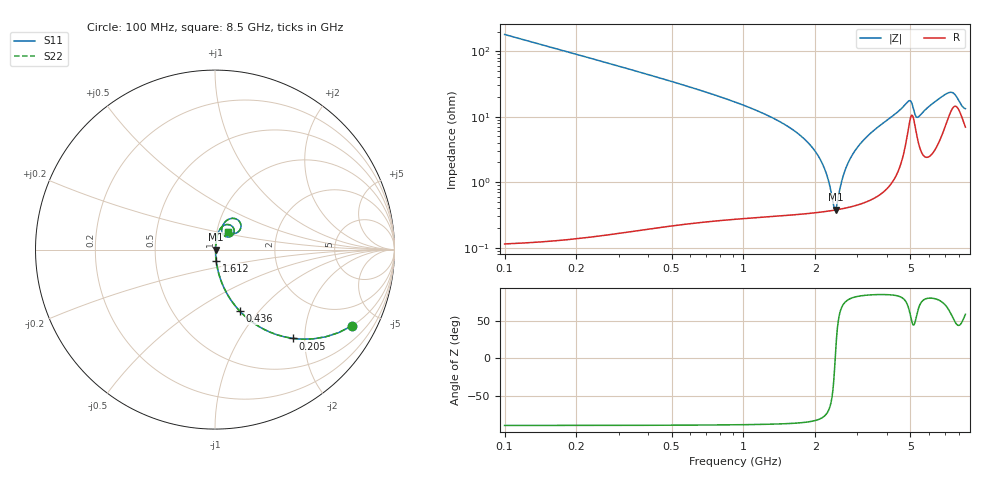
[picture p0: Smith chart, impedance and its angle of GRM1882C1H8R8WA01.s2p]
!Murata Part Number: GRM1882C1H8R8WA01
!These Parameters are Measured in Series Mode Connection
!Data Generated on Mar 30, 2021
!  o--ll--o
!Port1  Port2
!  o------o
!Operation Temp=25[degC], DC Bias Voltage=0[V]
!Freq. Start=100[MHz] Stop=9[GHz] 401[Steps]
# Hz S RI R 50
!Freq.(Hz) S11(Real) S11(Imag) S21(Real) S21(Imag) S12(Real) S12(Imag) S22(Real) S22(Imag)
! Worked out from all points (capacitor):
!   401 points, 100 MHz to 8.5 GHz, reference 50 ohm
!   read as one part in series: C = 8.81 pF near 142 MHz
!   lowest |Z| = 380 mohm at 2.431 GHz (marker M1)
!   series resonance near 2.423 GHz, so ESL is about 490 pH
!   S11 on the Smith chart (normalised r, x): 100 MHz: 1.00, -3.61; 205 MHz: 1.00, -1.75; 436 MHz: 1.00, -0.80; 1.612 GHz: 1.01, -0.13; 8.5 GHz: 1.14, +0.23
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1e8  0.765 -0.4237  0.235 0.4237  0.235 0.4237  0.765 -0.4237
2.05e8  0.4339 -0.4948  0.5661 0.4948  0.5661 0.4948  0.4339 -0.4948
3.1e8  0.248 -0.4304  0.752 0.4304  0.752 0.4304  0.248 -0.4304
4.36e8  0.1397 -0.3441  0.8603 0.3441  0.8603 0.3441  0.1397 -0.3441
8.56e8  0.0354 -0.1778  0.9646 0.1778  0.9646 0.1778  0.0354 -0.1778
1.507e9  0.0085 -0.0732  0.9915 0.0732  0.9915 0.0732  0.0085 -0.0732
1.612e9  0.00708 -0.0624  0.9929 0.0624  0.9929 0.0624  0.00708 -0.0624
1.906e9  0.00467 -0.0364  0.9953 0.0364  0.9953 0.0364  0.00467 -0.0364
2.116e9  0.00391 -0.0205  0.9961 0.0205  0.9961 0.0205  0.00391 -0.0205
2.263e9  0.00371 -0.0104  0.9963 0.0104  0.9963 0.0104  0.00371 -0.0104
2.389e9  0.00372 -0.00216  0.9963 0.00216  0.9963 0.00216  0.00372 -0.00216
2.431e9  0.00375 0.000488  0.9962 -0.000488  0.9962 -0.000488  0.00375 0.000488
2.641e9  0.00414 0.0132  0.9959 -0.0132  0.9959 -0.0132  0.00414 0.0132
2.914e9  0.00515 0.0287  0.9949 -0.0287  0.9949 -0.0287  0.00515 0.0287
3.418e9  0.00845 0.0555  0.9916 -0.0555  0.9916 -0.0555  0.00845 0.0555
4.3e9  0.0225 0.1045  0.9775 -0.1045  0.9775 -0.1045  0.0225 0.1045
4.93e9  0.0876 0.1353  0.9124 -0.1353  0.9124 -0.1353  0.0876 0.1353
5.308e9  0.0572 0.0737  0.9428 -0.0737  0.9428 -0.0737  0.0572 0.0737
5.707e9  0.0375 0.1125  0.9625 -0.1125  0.9625 -0.1125  0.0375 0.1125
7.114e9  0.1112 0.1727  0.8888 -0.1727  0.8888 -0.1727  0.1112 0.1727
7.576e9  0.1444 0.1361  0.8556 -0.1361  0.8556 -0.1361  0.1444 0.1361
8.5e9  0.0752 0.0981  0.9248 -0.0981  0.9248 -0.0981  0.0752 0.0981
